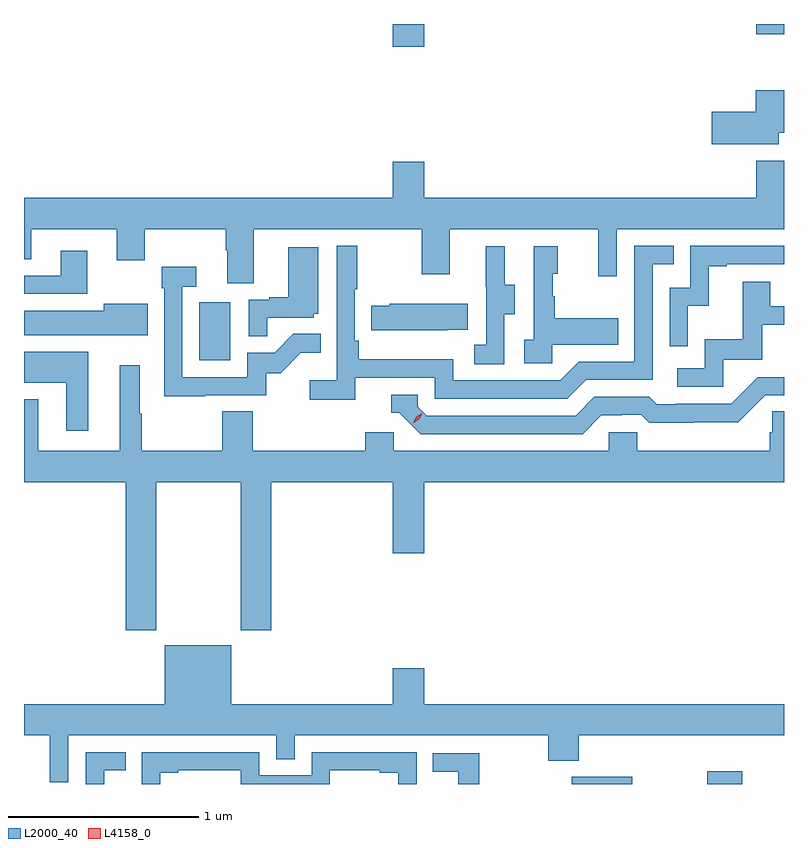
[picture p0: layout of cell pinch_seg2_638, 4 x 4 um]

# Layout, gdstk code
import gdstk
lib = gdstk.Library(unit=1e-6, precision=1e-09)
def R(c, l, rs):  # rectangles x0, y0, x1, y1
    for r in rs: c.add(gdstk.rectangle(r[:2], r[2:], *l))
def P(c, l, *ps):  # polygons
    for p in ps: c.add(gdstk.Polygon(p, *l))
L2000_40 = (2000, 40)
L4158_0 = (4158, 0)

pinch_seg2_638 = lib.new_cell('pinch_seg2_638')
R(pinch_seg2_638, L2000_40, [(1065.049,600.759,1065.367,600.796), (1065.761,600.759,1065.947,600.826), (1063.088,602.988,1063.252,603.295), (1064.108,604.638,1064.272,604.759), (1066.019,604.704,1066.166,604.759)])
P(pinch_seg2_638, L2000_40, [(1066.138,604.187),(1066.166,604.187),(1066.166,604.411),(1066.016,604.411),(1066.016,604.298),(1065.786,604.298),(1065.786,604.127),(1066.138,604.127)],
  [(1063.375,603.68),(1064.26,603.68),(1064.26,603.441),(1064.407,603.441),(1064.407,603.68),(1065.188,603.68),(1065.188,603.432),(1065.285,603.432),(1065.285,603.68),(1066.166,603.68),(1066.166,604.039),(1066.019,604.039),(1066.019,603.844),(1064.272,603.844),(1064.272,604.033),(1064.108,604.033),(1064.108,603.844),(1062.166,603.844),(1062.166,603.52),(1062.205,603.52),(1062.205,603.68),(1062.653,603.68),(1062.653,603.516),(1062.801,603.516),(1062.801,603.68),(1063.228,603.68),(1063.228,603.568),(1063.235,603.568),(1063.235,603.394),(1063.375,603.394)],
  [(1063.91,602.898),(1064.328,602.898),(1064.328,602.787),(1065.025,602.787),(1065.124,602.886),(1065.474,602.886),(1065.474,603.495),(1065.587,603.495),(1065.587,603.591),(1065.378,603.591),(1065.378,602.982),(1065.087,602.982),(1064.988,602.883),(1064.424,602.883),(1064.424,602.995),(1063.928,602.995),(1063.928,603.091),(1063.908,603.091),(1063.908,603.364),(1063.921,603.364),(1063.921,603.592),(1063.812,603.592),(1063.812,602.884),(1063.671,602.884),(1063.671,602.782),(1063.91,602.782)],
  [(1065.66,603.275),(1065.77,603.275),(1065.77,603.483),(1065.865,603.483),(1065.865,603.495),(1066.166,603.495),(1066.166,603.591),(1065.672,603.591),(1065.672,603.372),(1065.564,603.372),(1065.564,603.063),(1065.66,603.063)],
  [(1064.946,603.071),(1065.293,603.071),(1065.293,603.211),(1064.959,603.211),(1064.959,603.326),(1064.949,603.326),(1064.949,603.444),(1064.974,603.444),(1064.974,603.589),(1064.85,603.589),(1064.85,603.098),(1064.799,603.098),(1064.799,602.973),(1064.946,602.973)],
  [(1064.694,603.232),(1064.749,603.232),(1064.749,603.387),(1064.695,603.387),(1064.695,603.589),(1064.597,603.589),(1064.597,603.375),(1064.598,603.375),(1064.598,603.071),(1064.535,603.071),(1064.535,602.968),(1064.694,602.968)],
  [(1063.445,603.213),(1063.692,603.213),(1063.692,603.234),(1063.714,603.234),(1063.714,603.583),(1063.556,603.583),(1063.556,603.322),(1063.457,603.322),(1063.457,603.309),(1063.35,603.309),(1063.35,603.115),(1063.445,603.115)],
  [(1062.499,603.565),(1062.359,603.565),(1062.359,603.435),(1062.166,603.435),(1062.166,603.339),(1062.499,603.339)],
  [(1063.121,602.805),(1063.44,602.805),(1063.44,602.922),(1063.516,602.922),(1063.623,603.029),(1063.727,603.029),(1063.727,603.128),(1063.583,603.128),(1063.485,603.03),(1063.341,603.03),(1063.341,602.901),(1062.999,602.901),(1062.999,603.375),(1063.072,603.375),(1063.072,603.481),(1062.891,603.481),(1062.891,603.368),(1062.903,603.368),(1062.903,602.8),(1063.121,602.8)],
  [(1065.846,602.991),(1066.051,602.991),(1066.051,603.177),(1066.166,603.177),(1066.166,603.273),(1066.093,603.273),(1066.093,603.403),(1065.949,603.403),(1065.949,603.1),(1065.75,603.1),(1065.75,602.946),(1065.603,602.946),(1065.603,602.85),(1065.846,602.85)],
  [(1062.817,603.286),(1062.587,603.286),(1062.587,603.25),(1062.166,603.25),(1062.166,603.122),(1062.817,603.122)],
  [(1064.393,603.149),(1064.501,603.149),(1064.501,603.286),(1064.091,603.286),(1064.091,603.276),(1063.993,603.276),(1063.993,603.146),(1064.393,603.146)],
  [(1062.505,603.034),(1062.166,603.034),(1062.166,602.87),(1062.389,602.87),(1062.389,602.619),(1062.505,602.619)],
  [(1062.861,602.348),(1063.306,602.348),(1063.306,601.569),(1063.466,601.569),(1063.466,602.348),(1064.108,602.348),(1064.108,601.974),(1064.272,601.974),(1064.272,602.348),(1066.166,602.348),(1066.166,602.72),(1066.105,602.72),(1066.105,602.61),(1066.091,602.61),(1066.091,602.512),(1065.393,602.512),(1065.393,602.61),(1065.243,602.61),(1065.243,602.512),(1064.112,602.512),(1064.112,602.61),(1063.961,602.61),(1063.961,602.512),(1063.37,602.512),(1063.37,602.72),(1063.21,602.72),(1063.21,602.512),(1062.785,602.512),(1062.785,602.708),(1062.775,602.708),(1062.775,602.962),(1062.671,602.962),(1062.671,602.512),(1062.241,602.512),(1062.241,602.785),(1062.166,602.785),(1062.166,602.348),(1062.701,602.348),(1062.701,601.569),(1062.861,601.569)],
  [(1065.205,602.7),(1065.312,602.7),(1065.312,602.703),(1065.415,602.703),(1065.457,602.661),(1065.69,602.661),(1065.69,602.663),(1065.926,602.663),(1066.068,602.805),(1066.166,602.805),(1066.166,602.901),(1066.029,602.901),(1065.888,602.76),(1065.595,602.76),(1065.595,602.757),(1065.496,602.757),(1065.457,602.796),(1065.168,602.796),(1065.069,602.697),(1064.286,602.697),(1064.238,602.745),(1064.238,602.808),(1064.099,602.808),(1064.099,602.712),(1064.142,602.712),(1064.253,602.601),(1065.106,602.601)],
  [(1064.108,601.369),(1064.108,601.18),(1063.258,601.18),(1063.258,601.489),(1062.908,601.489),(1062.908,601.18),(1062.166,601.18),(1062.166,601.016),(1062.302,601.016),(1062.302,600.768),(1062.399,600.768),(1062.399,601.016),(1063.494,601.016),(1063.494,600.889),(1063.59,600.889),(1063.59,601.016),(1064.926,601.016),(1064.926,600.881),(1065.086,600.881),(1065.086,601.016),(1066.166,601.016),(1066.166,601.18),(1064.272,601.18),(1064.272,601.369)],
  [(1062.884,600.819),(1062.979,600.819),(1062.979,600.831),(1063.308,600.831),(1063.308,600.759),(1063.776,600.759),(1063.776,600.831),(1064.039,600.831),(1064.039,600.819),(1064.135,600.819),(1064.135,600.759),(1064.232,600.759),(1064.232,600.927),(1063.68,600.927),(1063.68,600.804),(1063.404,600.804),(1063.404,600.927),(1062.786,600.927),(1062.786,600.759),(1062.884,600.759)],
  [(1062.588,600.831),(1062.701,600.831),(1062.701,600.927),(1062.492,600.927),(1062.492,600.759),(1062.588,600.759)],
  [(1064.563,600.921),(1064.317,600.921),(1064.317,600.824),(1064.452,600.824),(1064.452,600.759),(1064.563,600.759)])
P(pinch_seg2_638, L4158_0, [(1064.214,602.659),(1064.214,602.66),(1064.231,602.692),(1064.261,602.711),(1064.262,602.711),(1064.262,602.71),(1064.245,602.678),(1064.215,602.659)])

lib.write_gds('pinch_seg2_638.gds')
